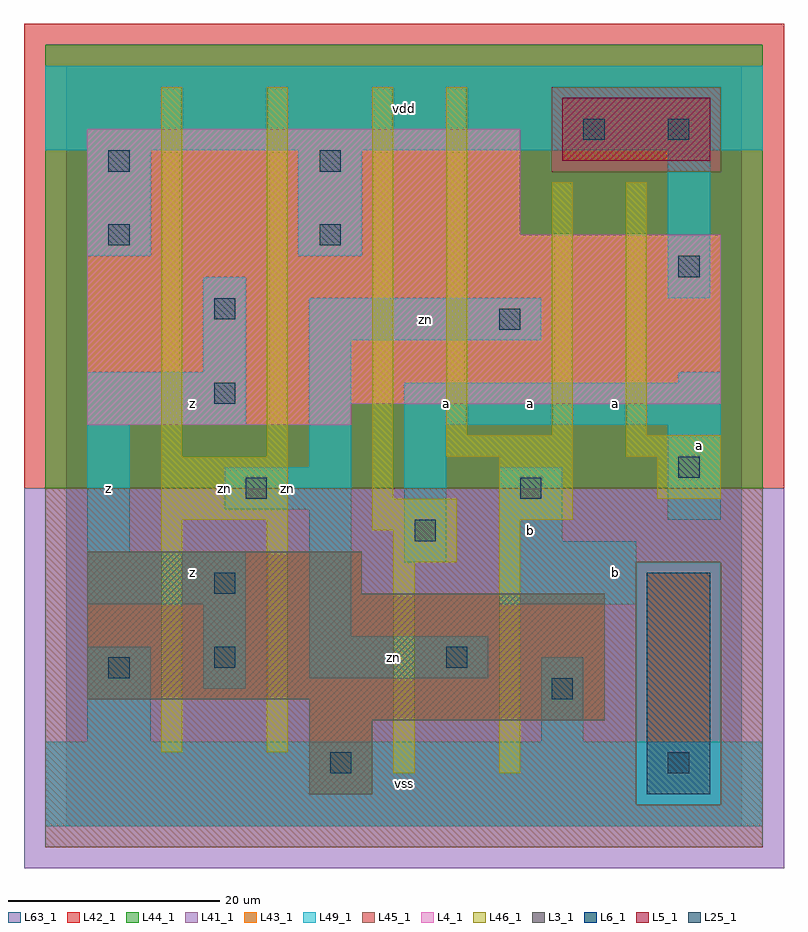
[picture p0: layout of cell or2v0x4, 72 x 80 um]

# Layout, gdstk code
import gdstk
lib = gdstk.Library(unit=1e-6, precision=1e-09)
def R(c, l, rs):  # rectangles x0, y0, x1, y1
    for r in rs: c.add(gdstk.rectangle(r[:2], r[2:], *l))
L3_1 = (3, 1)
L4_1 = (4, 1)
L5_1 = (5, 1)
L6_1 = (6, 1)
L25_1 = (25, 1)
L41_1 = (41, 1)
L42_1 = (42, 1)
L43_1 = (43, 1)
L44_1 = (44, 1)
L45_1 = (45, 1)
L46_1 = (46, 1)
L49_1 = (49, 1)
L63_1 = (63, 1)

or2v0x4 = lib.new_cell('or2v0x4')
R(or2v0x4, L3_1, [(23,3,29,10), (23,10,51,12), (2,12,51,22), (2,22,28,26)])
R(or2v0x4, L4_1, [(2,38,27,40), (2,40,62,56), (2,56,43,66)])
R(or2v0x4, L5_1, [(47,63,61,69)])
R(or2v0x4, L6_1, [(55,3,61,24), (55,3,61,24)])
R(or2v0x4, L25_1, [(25,5,27,7), (57,5,59,7), (46,12,48,14), (4,14,6,16), (14,15,16,17), (36,15,38,17), (14,22,16,24), (33,27,35,29), (17,31,19,33), (43,31,45,33), (58,33,60,35), (14,40,16,42), (41,47,43,49), (14,48,16,50), (58,52,60,54), (4,55,6,57), (24,55,26,57), (4,62,6,64), (24,62,26,64), (49,65,51,67), (57,65,59,67)])
R(or2v0x4, L41_1, [(-4,-4,68,32)])
R(or2v0x4, L42_1, [(-4,32,68,76)])
R(or2v0x4, L43_1, [(23,3,29,10), (55,3,61,24), (23,10,51,12), (2,12,51,22), (2,22,28,26), (2,38,27,40), (2,40,62,56), (2,56,43,66), (47,63,61,69)])
R(or2v0x4, L44_1, [(54,2,62,25), (-2,32,66,62), (-2,62,46,70), (62,62,66,70), (-2,70,66,74)])
R(or2v0x4, L45_1, [(-2,-2,66,2), (-2,2,54,25), (62,2,66,25), (-2,25,66,32), (46,62,62,70)])
R(or2v0x4, L46_1, [(31,5,33,25), (41,5,43,29), (9,7,11,29), (19,7,21,29), (31,25,37,28), (29,28,37,31), (9,29,21,35), (41,29,48,35), (29,31,31,70), (56,31,62,35), (9,35,11,70), (19,35,21,70), (36,35,48,37), (53,35,62,37), (36,37,38,70), (46,37,48,61), (53,37,55,61)])
R(or2v0x4, L49_1, [(-2,0,66,8), (2,8,8,17), (45,8,49,16), (13,13,17,21), (23,14,40,18), (23,18,27,30), (2,21,17,26), (41,21,54,27), (32,25,36,38), (2,26,6,38), (41,27,47,34), (57,29,62,38), (15,30,27,34), (23,34,27,46), (2,38,17,43), (32,38,62,42), (58,42,62,43), (13,43,17,52), (23,46,45,50), (57,50,61,64), (2,54,8,64), (22,54,28,64), (-2,64,66,72)])
R(or2v0x4, L63_1, [(0,0,64,72)])
or2v0x4.add(gdstk.Label('zn', (15,32), layer=46, texttype=1))
or2v0x4.add(gdstk.Label('z', (4,32), layer=49, texttype=1))
or2v0x4.add(gdstk.Label('z', (12,24), layer=49, texttype=1))
or2v0x4.add(gdstk.Label('z', (12,40), layer=49, texttype=1))
or2v0x4.add(gdstk.Label('zn', (21,32), layer=49, texttype=1))
or2v0x4.add(gdstk.Label('vss', (32,4), layer=49, texttype=1))
or2v0x4.add(gdstk.Label('zn', (31,16), layer=49, texttype=1))
or2v0x4.add(gdstk.Label('b', (44,28), layer=49, texttype=1))
or2v0x4.add(gdstk.Label('a', (44,40), layer=49, texttype=1))
or2v0x4.add(gdstk.Label('a', (36,40), layer=49, texttype=1))
or2v0x4.add(gdstk.Label('zn', (34,48), layer=49, texttype=1))
or2v0x4.add(gdstk.Label('vdd', (32,68), layer=49, texttype=1))
or2v0x4.add(gdstk.Label('b', (52,24), layer=49, texttype=1))
or2v0x4.add(gdstk.Label('a', (60,36), layer=49, texttype=1))
or2v0x4.add(gdstk.Label('a', (52,40), layer=49, texttype=1))

lib.write_gds('or2v0x4.gds')
